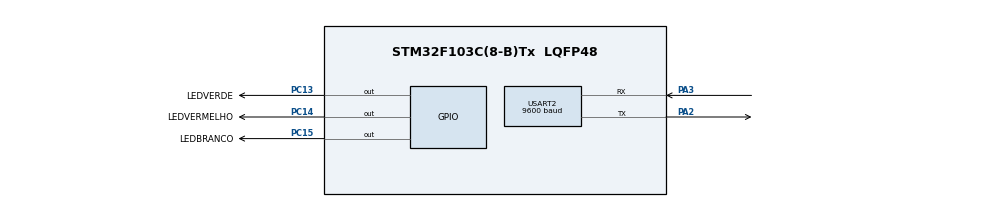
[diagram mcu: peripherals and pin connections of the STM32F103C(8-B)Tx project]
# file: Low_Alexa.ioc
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Mcu.Family=STM32F1
PC13-TAMPER-RTC.Signal=GPIO_Output
PC14-OSC32_IN.Signal=GPIO_Output
USART2.BaudRate=9600
PC15-OSC32_OUT.GPIO_Label=LEDBRANCO
ProjectManager.StackSize=0x400
PA13.Signal=SYS_JTMS-SWDIO
PA3.Mode=Asynchronous
ProjectManager.TargetToolchain=STM32CubeIDE
PC15-OSC32_OUT.Signal=GPIO_Output
board=custom
PC13-TAMPER-RTC.GPIO_Label=LEDVERDE
RCC.APB2Freq_Value=8000000
PC13-TAMPER-RTC.PinState=GPIO_PIN_RESET
PA14.Mode=Serial_Wire
PA13.Mode=Serial_Wire
Mcu.Name=STM32F103C(8-B)Tx
PA2.Signal=USART2_TX
Mcu.Package=LQFP48
USART2.VirtualMode=VM_ASYNC
PA14.Signal=SYS_JTCK-SWCLK
ProjectManager.HeapSize=0x200
NVIC.PriorityGroup=NVIC_PRIORITYGROUP_4
PA2.Mode=Asynchronous
PC14-OSC32_IN.GPIO_Label=LEDVERMELHO
RCC.APB1Freq_Value=8000000
PA3.Signal=USART2_RX

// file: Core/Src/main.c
/* USER CODE BEGIN Header */
/**
  ******************************************************************************
  * @file           : main.c
  * @brief          : Main program body
  ******************************************************************************
  * @attention
  *
  * <h2><center>&copy; Copyright (c) 2021 STMicroelectronics.
  * All rights reserved.</center></h2>
  *
  * This software component is licensed by ST under BSD 3-Clause license,
  * the "License"; You may not use this file except in compliance with the
  * License. You may obtain a copy of the License at:
  *                        opensource.org/licenses/BSD-3-Clause
  *
  ******************************************************************************
  */
/* USER CODE END Header */
#include "main.h"

/* USER CODE BEGIN Includes */
#include "string.h"
/* USER CODE END Includes */

UART_HandleTypeDef huart2;

/* USER CODE BEGIN PV */
int pisca[3] = {0,0,0};

/* USER CODE END PV */

void SystemClock_Config(void);
static void MX_GPIO_Init(void);
static void MX_USART2_UART_Init(void);
/* USER CODE BEGIN PFP */
void Message_handler(char buffer[]); //Trata a mensagem recebida e realiza uma função
void piscar(void); //piscar led sem interromper fluxo
void Set_All(int value);
/* USER CODE END PFP */

int main(void)
{
  /* USER CODE BEGIN 1 */
	char buffer[30];
	memset(buffer,0,30);
  /* USER CODE END 1 */

  /* MCU Configuration--------------------------------------------------------*/

  /* Reset of all peripherals, Initializes the Flash interface and the Systick. */
  HAL_Init();

  /* Configure the system clock */
  SystemClock_Config();

  /* Initialize all configured peripherals */
  MX_GPIO_Init();
  MX_USART2_UART_Init();

  /* Infinite loop */
  /* USER CODE BEGIN WHILE */
  while (1)
  {
	  HAL_UART_Receive(&huart2, (uint8_t *)buffer,30, 100);
	  Message_handler(buffer);
	  if(pisca != 0)
	  piscar(); // chama a função piscar periodicamente

    /* USER CODE END WHILE */

  }
}

void SystemClock_Config(void)
{
  RCC_OscInitTypeDef RCC_OscInitStruct = {0};
  RCC_ClkInitTypeDef RCC_ClkInitStruct = {0};

  /** Initializes the RCC Oscillators according to the specified parameters
  * in the RCC_OscInitTypeDef structure.
  */
  RCC_OscInitStruct.OscillatorType = RCC_OSCILLATORTYPE_HSI;
  RCC_OscInitStruct.HSIState = RCC_HSI_ON;
  RCC_OscInitStruct.HSICalibrationValue = RCC_HSICALIBRATION_DEFAULT;
  RCC_OscInitStruct.PLL.PLLState = RCC_PLL_NONE;
  if (HAL_RCC_OscConfig(&RCC_OscInitStruct) != HAL_OK)
  {
    Error_Handler();
  }
  /** Initializes the CPU, AHB and APB buses clocks
  */
  RCC_ClkInitStruct.ClockType = RCC_CLOCKTYPE_HCLK|RCC_CLOCKTYPE_SYSCLK
                              |RCC_CLOCKTYPE_PCLK1|RCC_CLOCKTYPE_PCLK2;
  RCC_ClkInitStruct.SYSCLKSource = RCC_SYSCLKSOURCE_HSI;
  RCC_ClkInitStruct.AHBCLKDivider = RCC_SYSCLK_DIV1;
  RCC_ClkInitStruct.APB1CLKDivider = RCC_HCLK_DIV1;
  RCC_ClkInitStruct.APB2CLKDivider = RCC_HCLK_DIV1;

  if (HAL_RCC_ClockConfig(&RCC_ClkInitStruct, FLASH_LATENCY_0) != HAL_OK)
  {
    Error_Handler();
  }
}

static void MX_USART2_UART_Init(void)
{

  huart2.Instance = USART2;
  huart2.Init.BaudRate = 9600;
  huart2.Init.WordLength = UART_WORDLENGTH_8B;
  huart2.Init.StopBits = UART_STOPBITS_1;
  huart2.Init.Parity = UART_PARITY_NONE;
  huart2.Init.Mode = UART_MODE_TX_RX;
  huart2.Init.HwFlowCtl = UART_HWCONTROL_NONE;
  huart2.Init.OverSampling = UART_OVERSAMPLING_16;
  if (HAL_UART_Init(&huart2) != HAL_OK)
  {
    Error_Handler();
  }

}

static void MX_GPIO_Init(void)
{
  GPIO_InitTypeDef GPIO_InitStruct = {0};

  /* GPIO Ports Clock Enable */
  __HAL_RCC_GPIOC_CLK_ENABLE();
  __HAL_RCC_GPIOA_CLK_ENABLE();

  /*Configure GPIO pin Output Level */
  HAL_GPIO_WritePin(GPIOC, LEDVERDE_Pin|LEDVERMELHO_Pin|LEDBRANCO_Pin, GPIO_PIN_RESET);

  /*Configure GPIO pins : LEDVERDE_Pin LEDVERMELHO_Pin LEDBRANCO_Pin */
  GPIO_InitStruct.Pin = LEDVERDE_Pin|LEDVERMELHO_Pin|LEDBRANCO_Pin;
  GPIO_InitStruct.Mode = GPIO_MODE_OUTPUT_PP;
  GPIO_InitStruct.Pull = GPIO_NOPULL;
  GPIO_InitStruct.Speed = GPIO_SPEED_FREQ_LOW;
  HAL_GPIO_Init(GPIOC, &GPIO_InitStruct);

}

/* USER CODE BEGIN 4 */

void Message_handler(char buffer[])
{
	if(strcasecmp(buffer,"*ligar branco#") == 0)
	{
		HAL_GPIO_WritePin(LEDBRANCO_GPIO_Port,LEDBRANCO_Pin, SET);
	}else
	if(strcasecmp(buffer,"*desligar branco#") == 0)
	{
		HAL_GPIO_WritePin(LEDBRANCO_GPIO_Port, LEDBRANCO_Pin, RESET);
	}else
	if(strcasecmp(buffer,"*ligar verde#") == 0)
	{
		HAL_GPIO_WritePin(LEDVERDE_GPIO_Port, LEDVERDE_Pin, SET);
	}else
	if(strcasecmp(buffer,"*desligar verde#") == 0)
	{
		HAL_GPIO_WritePin(LEDVERDE_GPIO_Port, LEDVERDE_Pin,  RESET);
	}else
	if(strcasecmp(buffer,"*ligar vermelho#") == 0)
	{
		HAL_GPIO_WritePin(LEDVERMELHO_GPIO_Port,LEDVERMELHO_Pin, SET);
	}else
	if(strcasecmp(buffer,"*desligar vermelho#") == 0)
	{
		HAL_GPIO_WritePin(LEDVERMELHO_GPIO_Port,LEDVERMELHO_Pin, RESET);
	}else
	if(strcasecmp(buffer,"*ligar todos#") == 0){
		Set_All(1);

	}else
	if(strcasecmp(buffer,"*desligar todos#") == 0){
		Set_All(0);
	}
	else
	if(strcasecmp(buffer,"*piscar branco#") == 0){
		pisca[0] = 1;
	}else
	if(strcasecmp(buffer,"*piscar verde#") == 0){
		pisca[1] = 1;
	}else
	if(strcasecmp(buffer,"*piscar vermelho#") == 0){
		pisca[2] = 1;
	}else
	if(strcasecmp(buffer,"*parar pisca branco#") == 0){
		pisca[0] = 0;
		HAL_GPIO_WritePin(LEDBRANCO_GPIO_Port,LEDBRANCO_Pin, 0);

	}else
	if(strcasecmp(buffer,"*parar pisca verde#") == 0){
		pisca[1] = 0;
		HAL_GPIO_WritePin(LEDVERDE_GPIO_Port, LEDVERDE_Pin, 0);
	}else
	if(strcasecmp(buffer,"*parar pisca vermelho#") == 0){
		pisca[2] = 0;
		HAL_GPIO_WritePin(LEDVERMELHO_GPIO_Port,LEDVERMELHO_Pin, 0);
	}else
	if(strcasecmp(buffer,"*varrer led#") == 0){
		int i;
		for(i=0;i<4;i++){
		HAL_GPIO_TogglePin(LEDBRANCO_GPIO_Port, LEDBRANCO_Pin);
		HAL_Delay(500);
		HAL_GPIO_TogglePin(LEDVERMELHO_GPIO_Port, LEDVERMELHO_Pin);
		HAL_Delay(500);
		HAL_GPIO_TogglePin(LEDVERDE_GPIO_Port,LEDVERDE_Pin);
		HAL_Delay(500);
	}}else
	if(strcasecmp(buffer,"*natal#") == 0){
		pisca[0]=1;
		pisca[1]=1;
		pisca[2]=1;

	}else
	if(strcasecmp(buffer,"*parar natal#") == 0){
		pisca[0]=0;
		pisca[1]=0;
		pisca[2]=0;
	}
memset(buffer,0,30);
}

void Set_All(int value){
	HAL_GPIO_WritePin(LEDBRANCO_GPIO_Port,LEDBRANCO_Pin, value);
	HAL_GPIO_WritePin(LEDVERDE_GPIO_Port, LEDVERDE_Pin, value);
	HAL_GPIO_WritePin(LEDVERMELHO_GPIO_Port,LEDVERMELHO_Pin, value);
}

void piscar(void){
	if(pisca[0]){
		HAL_GPIO_TogglePin(LEDBRANCO_GPIO_Port, LEDBRANCO_Pin);
	}if(pisca[1]){
		HAL_GPIO_TogglePin(LEDVERDE_GPIO_Port,LEDVERDE_Pin);
	}if(pisca[2]){
		HAL_GPIO_TogglePin(LEDVERMELHO_GPIO_Port, LEDVERMELHO_Pin);
	}

}

/* USER CODE END 4 */

void Error_Handler(void)
{
  __disable_irq();
  while (1)
  {
  }
}

/************************ (C) COPYRIGHT STMicroelectronics *****END OF FILE****/
